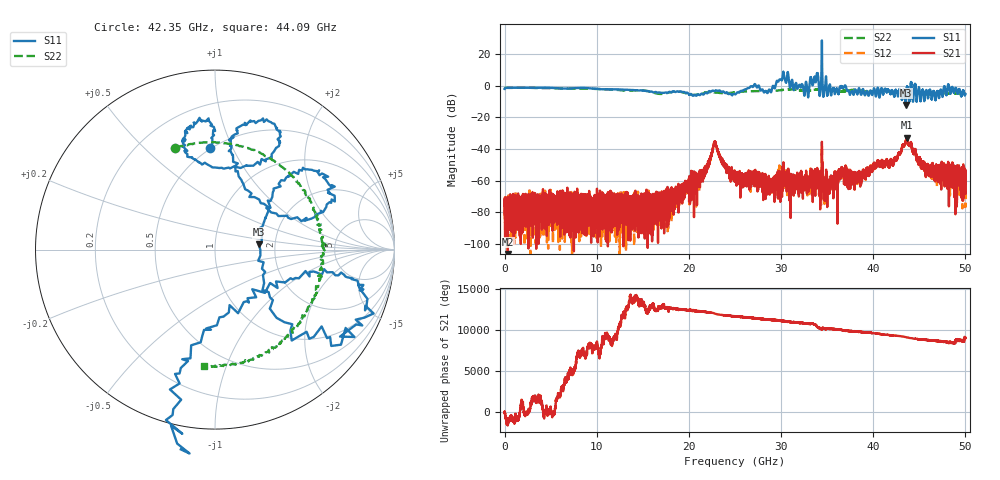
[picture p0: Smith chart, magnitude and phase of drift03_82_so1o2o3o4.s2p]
!Created with skrf (http://scikit-rf.org).
# Hz S RI R 50.0
!freq ReS11 ImS11 ReS21 ImS21 ReS12 ImS12 ReS22 ImS22
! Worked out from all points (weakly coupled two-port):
!   10000 points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, 5.3 MHz to 50 GHz, reference 50 ohm
!   highest |S21| = -32.99 dB at 43.65 GHz (marker M1); lowest = -106.5 dB at 355.3 MHz (marker M2)
!   lowest |S11| = -12.2 dB at 43.52 GHz (marker M3), VSWR 1.65, Z = 81.8 + j4.96 ohm
!   |S11| at or under -10 dB: 43.48266 GHz to 43.55243 GHz (69.77 MHz wide, 0.16 % of centre); 43.89894 GHz to 43.9015 GHz (2.557 MHz wide, 0.00582 % of centre); 44.30425 GHz to 44.31409 GHz (9.845 MHz wide, 0.0222 % of centre) (the widest 3 of 4)
!   |S22| runs from -5.9 to -1.3 dB; largest |S21 - S12| = 0.0098
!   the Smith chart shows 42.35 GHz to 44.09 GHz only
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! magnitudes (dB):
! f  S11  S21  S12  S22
! 5.3 MHz  -2.1  -80.7  -71.7  -2.1
! 355.3 MHz  -1.4  -106.5  -76.4  -1.4
! 8.34 GHz  -1.5  -76.6  -82.2  -1.9
! 16.67 GHz  -4.4  -71.9  -73.7  -5.1
! 21.04 GHz  -5.6  -58.7  -56.9  -5.5
! 21.95 GHz  -4.9  -50.6  -52.4  -4.4
! 22.82 GHz  -3.4  -35.4  -35.5  -4.4
! 25.01 GHz  -5.5  -56.5  -56.5  -4.3
! 27.02 GHz  -0.4  -57.1  -58.3  -3.5
! 28.84 GHz  -3.6  -59.9  -63.8  -3.5
! 30.14 GHz  4.4  -60.1  -58.1  -2.7
! 32.74 GHz  2.0  -57.0  -57.7  -3.3
! 33.34 GHz  2.5  -56.1  -61.3  -2.9
! 33.82 GHz  4.0  -60.7  -62.4  -2.5
! 34.97 GHz  -4.6  -62.7  -61.4  -2.4
! 36.48 GHz  -0.4  -54.4  -55.1  -3.8
! 38.58 GHz  -4.0  -58.2  -58.4  -3.1
! 41.67 GHz  -2.9  -51.6  -50.3  -3.7
! 43.52 GHz  -12.2  -35.6  -35.8  -4.2
! 43.65 GHz  -1.5  -33.0  -33.4  -4.1
! 46.25 GHz  -4.5  -52.4  -54.6  -5.6
! 50 GHz  -5.3  -59.5  -57.2  -4.9
